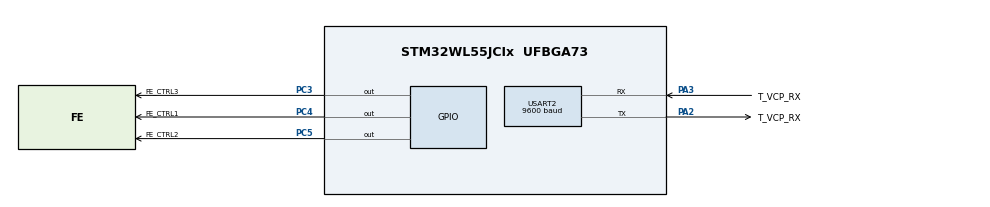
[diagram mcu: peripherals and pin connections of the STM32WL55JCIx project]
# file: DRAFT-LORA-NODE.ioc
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Mcu.Family=STM32WL
Mcu.Name=STM32WL55JCIx
Mcu.Package=UFBGA73
NVIC.PriorityGroup=NVIC_PRIORITYGROUP_4
NVIC.SUBGHZ_Radio_IRQn=true\:0\:0\:false\:false\:true\:true\:true\:true
PA2.GPIO_Label=T_VCP_RX
PA2.Mode=Asynchronous
PA2.Signal=USART2_TX
PA3.GPIO_Label=T_VCP_RX
PA3.Mode=Asynchronous
PA3.Signal=USART2_RX
PC14-OSC32_IN.GPIO_Label=RCC_OSC32_IN
PC14-OSC32_IN.Signal=RCC_OSC32_IN
PC15-OSC32_OUT.GPIO_Label=RCC_OSC32_OUT
PC15-OSC32_OUT.Signal=RCC_OSC32_OUT
PC3.GPIO_Label=FE_CTRL3
PC3.GPIO_Speed=GPIO_SPEED_FREQ_VERY_HIGH
PC3.Signal=GPIO_Output
PC4.GPIO_Label=FE_CTRL1
PC4.GPIO_Speed=GPIO_SPEED_FREQ_VERY_HIGH
PC4.Signal=GPIO_Output
PC5.GPIO_Label=FE_CTRL2
PC5.GPIO_Speed=GPIO_SPEED_FREQ_VERY_HIGH
PC5.Signal=GPIO_Output
ProjectManager.HeapSize=0x200
ProjectManager.StackSize=0x400
ProjectManager.TargetToolchain=STM32CubeIDE
RCC.AHBFreq_Value=48000000
RCC.APB1Freq_Value=48000000
RCC.APB1TimFreq_Value=48000000
RCC.APB2Freq_Value=48000000
RCC.APB2TimFreq_Value=48000000
RCC.APB3Freq_Value=48000000
RCC.CortexFreq_Value=48000000
RCC.HCLKFreq_Value=48000000
RCC.HSE_VALUE=32000000
RCC.HSI_VALUE=16000000
RCC.LSE_VALUE=32768
RCC.MSIClockRange=RCC_MSIRANGE_11
RCC.SYSCLKFreq_VALUE=48000000
RCC.VCOOutputFreq_Value=384000000
SUBGHZ.BaudratePrescaler=SUBGHZSPI_BAUDRATEPRESCALER_4
USART2.BaudRate=9600
USART2.VirtualMode-Asynchronous=VM_ASYNC
VP_SUBGHZ_VS_SUBGHZ.Mode=SUBGHZ_Activate
board=NUCLEO-WL55JC2

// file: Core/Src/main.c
/* USER CODE BEGIN Header */
/**
  ******************************************************************************
  * @file           : main.c
  * @brief          : Main program body
  ******************************************************************************
  * @attention
  *
  * <h2><center>&copy; Copyright (c) 2021 STMicroelectronics.
  * All rights reserved.</center></h2>
  *
  * This software component is licensed by ST under BSD 3-Clause license,
  * the "License"; You may not use this file except in compliance with the
  * License. You may obtain a copy of the License at:
  *                        opensource.org/licenses/BSD-3-Clause
  *
  ******************************************************************************
  */
/* USER CODE END Header */
#include "main.h"
#include "subghz.h"
#include "usart.h"
#include "gpio.h"

/* USER CODE BEGIN Includes */

#include <string.h>
#include <stdio.h>
#include "radio_driver.h"
#include "stm32wlxx_nucleo.h"

/* USER CODE END Includes */

/* USER CODE BEGIN PTD */

//typedef enum
//{
//  STATE_NULL,
//  STATE_MASTER,
//  STATE_SLAVE
//} state_t;
//
//typedef enum
//{
//  SSTATE_NULL,
//  SSTATE_RX,
//  SSTATE_TX
//} substate_t;
//
//typedef struct
//{
//  state_t state;
//  substate_t subState;
//  uint32_t rxTimeout;
//  uint32_t rxMargin;
//  uint32_t randomDelay;
//  char rxBuffer[RX_BUFFER_SIZE];
//  uint8_t rxSize;
//} pingPongFSM_t;

/* USER CODE END PTD */

/* USER CODE BEGIN PM */

#define RF_FREQUENCY                                433000000 //868000000 /* Hz */
#define TX_OUTPUT_POWER                             14        /* dBm */
#define LORA_BANDWIDTH                              0         /* Hz */
#define LORA_SPREADING_FACTOR                       7
#define LORA_CODINGRATE                             1
#define LORA_PREAMBLE_LENGTH                        8         /* Same for Tx and Rx */
#define LORA_SYMBOL_TIMEOUT                         5         /* Symbols */

#define UART_BUFF_SIZE 256
/* USER CODE END PM */

/* USER CODE BEGIN PV */

// void (*volatile eventReceptor)(pingPongFSM_t *const fsm);

PacketParams_t packetParams;
const RadioLoRaBandwidths_t Bandwidths[] = {LORA_BW_125, LORA_BW_250, LORA_BW_500};

/* USER CODE END PV */

void SystemClock_Config(void);
/* USER CODE BEGIN PFP */

void radioInit(void);
void handleRxDone(void);
void handleRxTimeout(void);
void handleRxError(void);
void RadioOnDioIrq(RadioIrqMasks_t radioIrq);

void LEDstartup(void);

/* USER CODE END PFP */

int main(void)
{

  /* USER CODE BEGIN 1 */

//  pingPongFSM_t fsm;
	char uartBuff[100];
	int8_t rxBuffer[256] = {0}; // Buffer for received data

  /* USER CODE END 1 */

  /* MCU Configuration--------------------------------------------------------*/

  /* Reset of all peripherals, Initializes the Flash interface and the Systick. */
  HAL_Init();

  /* Configure the system clock */
  SystemClock_Config();

  /* USER CODE BEGIN SysInit */

  /*** GPIO Configuration (for debugging) ***/
  /* DEBUG_SUBGHZSPI_NSSOUT = PA4
   * DEBUG_SUBGHZSPI_SCKOUT = PA5
   * DEBUG_SUBGHZSPI_MISOOUT = PA6
   * DEBUG_SUBGHZSPI_MOSIOUT = PA7
   * DEBUG_RF_HSE32RDY = PA10
   * DEBUG_RF_NRESET = PA11
   * DEBUG_RF_SMPSRDY = PB2
   * DEBUG_RF_DTB1 = PB3 <---- Conflicts with RF_IRQ0
   * DEBUG_RF_LDORDY = PB4
   * RF_BUSY = PA12
   * RF_IRQ0 = PB3
   * RF_IRQ1 = PB5
   * RF_IRQ2 = PB8
   */

//  GPIO_InitTypeDef GPIO_InitStruct = {0};
//
//  // Enable GPIO Clocks
//  __HAL_RCC_GPIOA_CLK_ENABLE();
//  __HAL_RCC_GPIOB_CLK_ENABLE();
//
//  // DEBUG_SUBGHZSPI_{NSSOUT, SCKOUT, MSIOOUT, MOSIOUT} pins
//  GPIO_InitStruct.Pin = GPIO_PIN_4 | GPIO_PIN_5 | GPIO_PIN_6 | GPIO_PIN_7;
//  GPIO_InitStruct.Mode = GPIO_MODE_AF_PP;
//  GPIO_InitStruct.Pull = GPIO_NOPULL;
//  GPIO_InitStruct.Speed = GPIO_SPEED_FREQ_VERY_HIGH;
//  GPIO_InitStruct.Alternate = GPIO_AF13_DEBUG_SUBGHZSPI;
//  HAL_GPIO_Init(GPIOA, &GPIO_InitStruct);
//
//  // DEBUG_RF_{HSE32RDY, NRESET} pins
//  GPIO_InitStruct.Pin = GPIO_PIN_10 | GPIO_PIN_11;
//  GPIO_InitStruct.Alternate = GPIO_AF13_DEBUG_RF;
//  HAL_GPIO_Init(GPIOA, &GPIO_InitStruct);
//
//  // DEBUG_RF_{SMPSRDY, LDORDY} pins
//  GPIO_InitStruct.Pin = GPIO_PIN_2 | GPIO_PIN_4;
//  HAL_GPIO_Init(GPIOB, &GPIO_InitStruct);
//
//  // RF_BUSY pin
//  GPIO_InitStruct.Pin = GPIO_PIN_12;
//  GPIO_InitStruct.Alternate = GPIO_AF6_RF_BUSY;
//  HAL_GPIO_Init(GPIOA, &GPIO_InitStruct);
//
//  // RF_{IRQ0, IRQ1, IRQ2} pins
//  GPIO_InitStruct.Pin = GPIO_PIN_3 | GPIO_PIN_5 | GPIO_PIN_8;
//  HAL_GPIO_Init(GPIOB, &GPIO_InitStruct);

  /* USER CODE END SysInit */

  /* Initialize all configured peripherals */
  MX_GPIO_Init();
  MX_SUBGHZ_Init();
  MX_USART2_UART_Init();
  /* USER CODE BEGIN 2 */

  BSP_LED_Init(LED_GREEN);
  BSP_LED_Init(LED_RED);
  BSP_LED_Init(LED_BLUE);

  strcpy(uartBuff, "\n\rPING PONG Receiver\r\n---------------\r\n");
  HAL_UART_Transmit(&huart2, (uint8_t *)uartBuff, strlen(uartBuff), HAL_MAX_DELAY);
//  sprintf(uartBuff, "LORA_MODULATION\r\nLORA_BW=%d Hz\r\nLORA_SF=%d\r\n", (1 << LORA_BANDWIDTH) * 125, LORA_SPREADING_FACTOR);
//  HAL_UART_Transmit(&huart2, (uint8_t *)uartBuff, strlen(uartBuff), HAL_MAX_DELAY);
  radioInit();
  printFlowerArt();
  LEDstartup();

  /* USER CODE END 2 */

  /* Infinite loop */
  while (1)
  {

    /* USER CODE BEGIN 3 */
      // Set up radio to receive data
      SUBGRF_SetDioIrqParams(
          IRQ_RX_DONE | IRQ_RX_TX_TIMEOUT | IRQ_CRC_ERROR, // Enable specific interrupts
          IRQ_RX_DONE | IRQ_RX_TX_TIMEOUT | IRQ_CRC_ERROR,
          IRQ_RADIO_NONE,
          IRQ_RADIO_NONE
      );

      // Set the radio to RX mode with a timeout
	  SUBGRF_SetSwitch(RFO_LP, RFSWITCH_RX);  // Set RF switch to RX mode
	  packetParams.Params.LoRa.PayloadLength = sizeof(rxBuffer);  // Set expected payload length
	  SUBGRF_SetPacketParams(&packetParams);  // Apply packet parameters
	  SUBGRF_SetRx(3000 << 6);  // Set RX timeout (3000 ms)

      // Wait for an event (IRQ handler will trigger the appropriate handler)
      while (1)
      {
          // Read the interrupt status from the radio
          uint16_t irqStatus = SUBGRF_GetIrqStatus();

          // Print the current IRQ status for debugging
//          char uartBuff[50];
//          snprintf(uartBuff, sizeof(uartBuff), "IRQ Status: 0x%04X\r\n", irqStatus);
//          HAL_UART_Transmit(&huart2, (uint8_t *)uartBuff, strlen(uartBuff), HAL_MAX_DELAY);

          // Check for specific interrupt events
          if (irqStatus & IRQ_RX_DONE)  // Check if RX is done
          {
              handleRxDone();  // Handle the received data
              BSP_LED_Toggle(LED_BLUE);
              break;
          }
          else if (irqStatus & IRQ_RX_TX_TIMEOUT)  // Check for timeout
          {
              handleRxTimeout();  // Handle the timeout
              break;
          }
          else if (irqStatus & IRQ_CRC_ERROR)  // Check for CRC error
          {
              handleRxError();  // Handle the error
              break;
          }

          // Add a small delay to prevent flooding UART with messages
          HAL_Delay(1000);
      }

  }
  /* USER CODE END 3 */
}

void SystemClock_Config(void)
{
  RCC_OscInitTypeDef RCC_OscInitStruct = {0};
  RCC_ClkInitTypeDef RCC_ClkInitStruct = {0};

  /** Configure the main internal regulator output voltage
  */
  __HAL_PWR_VOLTAGESCALING_CONFIG(PWR_REGULATOR_VOLTAGE_SCALE1);

  /** Initializes the CPU, AHB and APB buses clocks
  */
  RCC_OscInitStruct.OscillatorType = RCC_OSCILLATORTYPE_MSI;
  RCC_OscInitStruct.MSIState = RCC_MSI_ON;
  RCC_OscInitStruct.MSICalibrationValue = RCC_MSICALIBRATION_DEFAULT;
  RCC_OscInitStruct.MSIClockRange = RCC_MSIRANGE_11;
  RCC_OscInitStruct.PLL.PLLState = RCC_PLL_NONE;
  if (HAL_RCC_OscConfig(&RCC_OscInitStruct) != HAL_OK)
  {
    Error_Handler();
  }

  /** Configure the SYSCLKSource, HCLK, PCLK1 and PCLK2 clocks dividers
  */
  RCC_ClkInitStruct.ClockType = RCC_CLOCKTYPE_HCLK3|RCC_CLOCKTYPE_HCLK
                              |RCC_CLOCKTYPE_SYSCLK|RCC_CLOCKTYPE_PCLK1
                              |RCC_CLOCKTYPE_PCLK2;
  RCC_ClkInitStruct.SYSCLKSource = RCC_SYSCLKSOURCE_MSI;
  RCC_ClkInitStruct.AHBCLKDivider = RCC_SYSCLK_DIV1;
  RCC_ClkInitStruct.APB1CLKDivider = RCC_HCLK_DIV1;
  RCC_ClkInitStruct.APB2CLKDivider = RCC_HCLK_DIV1;
  RCC_ClkInitStruct.AHBCLK3Divider = RCC_SYSCLK_DIV1;

  if (HAL_RCC_ClockConfig(&RCC_ClkInitStruct, FLASH_LATENCY_2) != HAL_OK)
  {
    Error_Handler();
  }
}

/* USER CODE BEGIN 4 */
/**
  * @brief  Prints a flower art with a message to the UART.
  * @retval None
  */
void printFlowerArt(void)
{
    const char *flowerArt =
    "        _\r\n"
    "       (_)                   \r\n"
    "   /\\  | |  /\\        \r\n"
    "  /  \\_|_|_/  \\     \r\n"
    "  \\   `\"\"\"`   /     \r\n"
    "   \\_________/         \r\n"
    "       | |                   \r\n"
    "       | |                   \r\n"
    "       | |                   \r\n"
    "       | |                   \r\n"
    "      _|_|_                \r\n"
    "    /_/   \\_\\            \r\n\n"
    "Angus's Peony Monitor\r\n\n";

    // Transmit the art and message to UART
    HAL_UART_Transmit(&huart2, (uint8_t *)flowerArt, strlen(flowerArt), HAL_MAX_DELAY);
}

void LEDstartup(void)
{
    // Flash each LED 3 times
    for (int i = 0; i < 3; i++)
    {
        // Toggle the Green LED
        BSP_LED_Toggle(LED_GREEN);
        BSP_LED_Toggle(LED_RED);
        BSP_LED_Toggle(LED_BLUE);
        HAL_Delay(200); // Delay 200ms

        // Toggle the  LED again to turn it off
        BSP_LED_Toggle(LED_GREEN);
        BSP_LED_Toggle(LED_RED);
        BSP_LED_Toggle(LED_BLUE);
        HAL_Delay(200);

    }
}

void radioInit(void)
{
    SUBGRF_Init(RadioOnDioIrq);

    SUBGRF_WriteRegister(SUBGHZ_SMPSC0R, (SUBGRF_ReadRegister(SUBGHZ_SMPSC0R) | SMPS_CLK_DET_ENABLE));
    SUBGRF_SetRegulatorMode();

    SUBGRF_SetBufferBaseAddress(0x00, 0x00);
    SUBGRF_SetRfFrequency(RF_FREQUENCY);
    SUBGRF_SetRfTxPower(TX_OUTPUT_POWER);
    SUBGRF_SetStopRxTimerOnPreambleDetect(false);

    SUBGRF_SetPacketType(PACKET_TYPE_LORA);

    SUBGRF_WriteRegister(REG_LR_SYNCWORD, (LORA_MAC_PRIVATE_SYNCWORD >> 8) & 0xFF);
    SUBGRF_WriteRegister(REG_LR_SYNCWORD + 1, LORA_MAC_PRIVATE_SYNCWORD & 0xFF);

    ModulationParams_t modulationParams;
    modulationParams.PacketType = PACKET_TYPE_LORA;
    modulationParams.Params.LoRa.Bandwidth = Bandwidths[LORA_BANDWIDTH];
    modulationParams.Params.LoRa.CodingRate = (RadioLoRaCodingRates_t)LORA_CODINGRATE;
    modulationParams.Params.LoRa.LowDatarateOptimize = 0x00;
    modulationParams.Params.LoRa.SpreadingFactor = (RadioLoRaSpreadingFactors_t)LORA_SPREADING_FACTOR;
    SUBGRF_SetModulationParams(&modulationParams);

    packetParams.PacketType = PACKET_TYPE_LORA;
    packetParams.Params.LoRa.CrcMode = LORA_CRC_ON;
    packetParams.Params.LoRa.HeaderType = LORA_PACKET_VARIABLE_LENGTH;
    packetParams.Params.LoRa.InvertIQ = LORA_IQ_NORMAL;
    packetParams.Params.LoRa.PayloadLength = 0xFF;
    packetParams.Params.LoRa.PreambleLength = LORA_PREAMBLE_LENGTH;
    SUBGRF_SetPacketParams(&packetParams);

    SUBGRF_WriteRegister(0x0736, SUBGRF_ReadRegister(0x0736) | (1 << 2));
}

/**
  * @brief  Radio IRQ handler
  * @param  radioIrq Interrupt type (TX done, RX done, etc.)
  * @retval None
  */
void RadioOnDioIrq(RadioIrqMasks_t radioIrq)
{
    // Handles the radio interrupts
    if (radioIrq & IRQ_RX_DONE)
        handleRxDone();
    else if (radioIrq & IRQ_RX_TX_TIMEOUT)
        handleRxTimeout();
    else if (radioIrq & IRQ_CRC_ERROR)
        handleRxError();
}

//void handleRxDone(void)
//{
//    char uartBuff[100];
//    uint8_t rxBuffer[256] = {0};  // Buffer to hold received data
//    uint8_t rxSize = 0;
//    PacketStatus_t packetStatus;
//
//    // Apply workaround to reset certain timing registers after RX
//    SUBGRF_WriteRegister(0x0920, 0x00); // Specific workaround for RX timing sequence
//    SUBGRF_WriteRegister(0x0944, (SUBGRF_ReadRegister(0x0944) | 0x02)); // Another timing-related workaround
//
//    // Retrieve the payload from the radio buffer
//    SUBGRF_GetPayload(rxBuffer, &rxSize, sizeof(rxBuffer));
//
//    // Get the packet status
//    SUBGRF_GetPacketStatus(&packetStatus);
//
//    // Print the RSSI and SNR values
//    snprintf(uartBuff, sizeof(uartBuff), "Received Data: RSSI=%d dBm, SNR=%d\r\n", packetStatus.Params.LoRa.RssiPkt, packetStatus.Params.LoRa.SnrPkt);
//    HAL_UART_Transmit(&huart2, (uint8_t *)uartBuff, strlen(uartBuff), HAL_MAX_DELAY);
//
//    // Print the received data in hexadecimal format for better diagnostics
//    HAL_UART_Transmit(&huart2, (uint8_t *)"Data: ", 6, HAL_MAX_DELAY);
//    for (int i = 0; i < rxSize; i++)
//    {
//        snprintf(uartBuff, sizeof(uartBuff), "%02X ", rxBuffer[i]);
//        HAL_UART_Transmit(&huart2, (uint8_t *)uartBuff, strlen(uartBuff), HAL_MAX_DELAY);
//    }
//    HAL_UART_Transmit(&huart2, (uint8_t *)"\r\n", 2, HAL_MAX_DELAY);
//
//    // Clear interrupt status and re-enable interrupts
//    SUBGRF_ClearIrqStatus(IRQ_RX_DONE);
//
//    // Re-set RX mode explicitly after each handling
//    SUBGRF_SetRx(3000 << 6); // Ensure radio is back in RX mode
//}

void handleRxDone(void)
{
    char uartBuff[100];
    uint8_t rxBuffer[256] = {0};  // Buffer to hold received data
    uint8_t rxSize = 0;
    PacketStatus_t packetStatus;

    // Apply workaround to reset certain timing registers after RX
    SUBGRF_WriteRegister(0x0920, 0x00); // Specific workaround for RX timing sequence
    SUBGRF_WriteRegister(0x0944, (SUBGRF_ReadRegister(0x0944) | 0x02)); // Another timing-related workaround

    // Retrieve the payload from the radio buffer
    SUBGRF_GetPayload((uint8_t *)rxBuffer, &rxSize, 0xFF);

    // Debug: Print the actual size of the received data
    snprintf(uartBuff, sizeof(uartBuff), "Payload Length: %d\r\n", rxSize);
    HAL_UART_Transmit(&huart2, (uint8_t *)uartBuff, strlen(uartBuff), HAL_MAX_DELAY);

    // Get the packet status
    SUBGRF_GetPacketStatus(&packetStatus);

    // Print the RSSI and SNR values
    // Display RSSI, SNR, and frequency error values
       sprintf(uartBuff, "Received Data: %s  \r\nRSSI=%d dBm \r\nSignal RSSI=%d dBm \r\nSNR=%d dB \r\nFreq Error=%lu Hz\r\n",
               rxBuffer,
       		   packetStatus.Params.LoRa.RssiPkt,
               packetStatus.Params.LoRa.SignalRssiPkt,
               packetStatus.Params.LoRa.SnrPkt,
               packetStatus.Params.LoRa.FreqError);
       HAL_UART_Transmit(&huart2, (uint8_t *)uartBuff, strlen(uartBuff), HAL_MAX_DELAY);

    // Debugging read directly from buffer registers
    for (int i = 0; i < rxSize; i++)
    {
        uint8_t byteRead = SUBGRF_ReadRegister(0x00 + i); // Assuming buffer starts at 0x00
        //snprintf(uartBuff, sizeof(uartBuff), "Byte %d: %02X\r\n", i, byteRead);
        //HAL_UART_Transmit(&huart2, (uint8_t *)uartBuff, strlen(uartBuff), HAL_MAX_DELAY);
    }

    // Print the received data in hexadecimal format for better diagnostics
    HAL_UART_Transmit(&huart2, (uint8_t *)"Data: ", 6, HAL_MAX_DELAY);
    for (int i = 0; i < rxSize; i++)
    {
        snprintf(uartBuff, sizeof(uartBuff), "%02X ", rxBuffer[i]);
        HAL_UART_Transmit(&huart2, (uint8_t *)uartBuff, strlen(uartBuff), HAL_MAX_DELAY);
    }
    HAL_UART_Transmit(&huart2, (uint8_t *)"\r\n", 2, HAL_MAX_DELAY);

    // Clear interrupt status and re-enable interrupts
    SUBGRF_ClearIrqStatus(IRQ_RX_DONE);

    // Re-set RX mode explicitly after each handling
    SUBGRF_SetRx(3000 << 6); // Ensure radio is back in RX mode
}

void handleRxTimeout(void)
{
    char uartBuff[50];
    // Apply workaround to reset certain timing registers after RX timeout
    SUBGRF_WriteRegister(0x0920, 0x00);
    SUBGRF_WriteRegister(0x0944, (SUBGRF_ReadRegister(0x0944) | 0x02));

    strcpy(uartBuff, "RX Timeout!\r\n");
    HAL_UART_Transmit(&huart2, (uint8_t *)uartBuff, strlen(uartBuff), HAL_MAX_DELAY);

    // Clear interrupt status
    SUBGRF_ClearIrqStatus(IRQ_RX_TX_TIMEOUT);

    // Re-set RX mode explicitly after timeout handling
    SUBGRF_SetRx(3000 << 6); // Ensure radio is back in RX mode
}

void handleRxError(void)
{
    char uartBuff[50];
    // Apply workaround to reset certain timing registers after CRC error
    SUBGRF_WriteRegister(0x0920, 0x00);
    SUBGRF_WriteRegister(0x0944, (SUBGRF_ReadRegister(0x0944) | 0x02));

    strcpy(uartBuff, "RX Error: CRC Error Detected!\r\n");
    HAL_UART_Transmit(&huart2, (uint8_t *)uartBuff, strlen(uartBuff), HAL_MAX_DELAY);

    // Clear interrupt status
    SUBGRF_ClearIrqStatus(IRQ_CRC_ERROR);

    // Re-set RX mode explicitly after error handling
    SUBGRF_SetRx(3000 << 6); // Ensure radio is back in RX mode
}

/* USER CODE END 4 */

void Error_Handler(void)
{
  __disable_irq();
  while (1)
  {
  }
}
